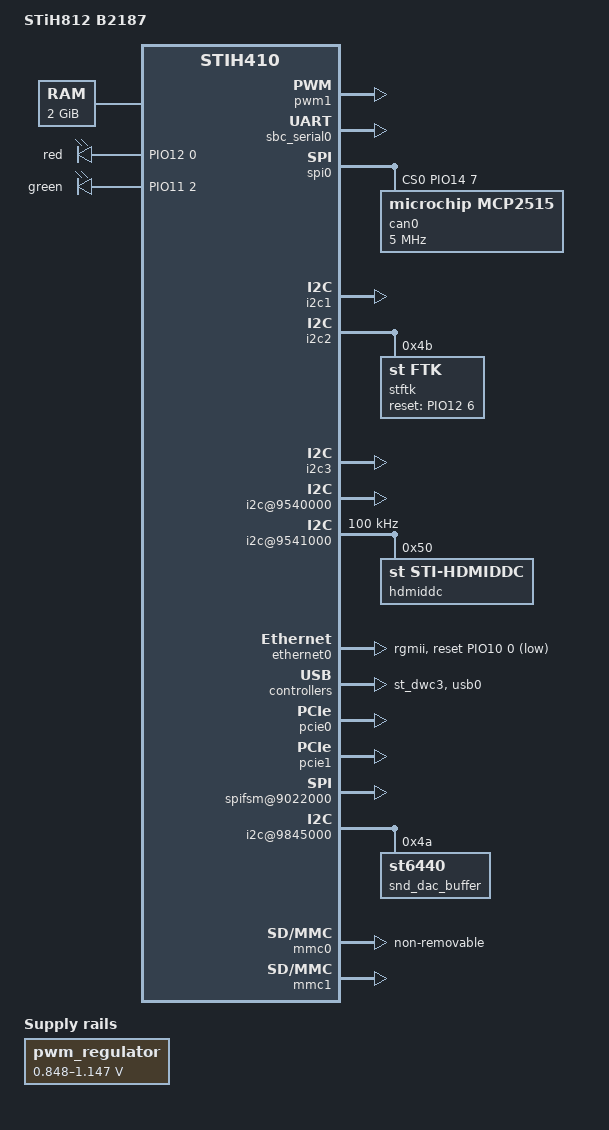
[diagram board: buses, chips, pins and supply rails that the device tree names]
/*
 * Copyright (C) 2014 STMicroelectronics (R&D) Limited.
 * Author: Vincent Abriou <vincent.abriou@st.com>
 * Author: Amelie Delaunay <amelie.delaunay@st.com>
 *
 * This program is free software; you can redistribute it and/or modify
 * it under the terms of the GNU General Public License version 2 as
 * published by the Free Software Foundation.
 */
/dts-v1/;
#include "stih410.dtsi"
/ {
	model = "STiH812 B2187";
	compatible = "st,stih812-b2187", "st,stih410";

	memory {
		device_type = "memory";
		reg = <0x40000000 0x80000000>;
	};

	chosen {
		bootargs = "console=ttyAS0,115200";
		linux,stdout-path = &sbc_serial0;
	};

	aliases {
		ttyAS0 = &sbc_serial0;
		ethernet0 = &ethernet0;
		usb0 = &usb0;
	};

	pwm_regulator: pwm-regulator {
		compatible = "st,pwm-regulator";
		regulator-name = "CPU_1V0_AVS";
		regulator-min-microvolt = <848000>;
		regulator-max-microvolt = <1147000>;
		regulator-always-on;
		pwms = <&pwm1 3 8448>;
		status = "okay";
	};

	sound {
		compatible = "st,snd-soc-sti";
		status = "okay";
		st,card-name = "sti audio card";

		st,asoc-platform = <&sti_asoc_platform>;
		st,backend-name  = "HDMI_out", "PCM_out",
				   "Analog_out", "spdif",
				   "HDMI_in";
		st,backend-cpu-dai = <&snd_uni_player0 &snd_uni_player1
				      &snd_uni_player2 &snd_uni_player3
				      &snd_uni_reader1 >;
		st,backend-codec = <&sti_sasg_codec &sti_sasg_codec
				    &sti_sasg_codec &sti_sasg_codec
				    &sti_sasg_codec>;
		st,backend-codec-dai = "sas-dai-dummy", "sas-dai-dummy",
				       "sas-dai-dac", "sas-dai-spdif-out",
				       "sas-dai-dummy";
	};

	soc {
		vqmmc_reg: voltage-regulator {
			status = "okay";
		};

		pwm1: pwm@9510000 {
			compatible = "st,sti-pwm";
			status = "okay";
			pinctrl-0 = <&pinctrl_pwm1_chan3_default>;
		};

		sbc_serial0: serial@9530000 {
			status = "okay";
		};

		leds {
			compatible = "gpio-leds";
			red {
				#gpio-cells = <2>;
				gpios = <&PIO12 0 0>;
				linux,default-trigger = "heartbeat";
			};
			green {
				#gpio-cells = <2>;
				gpios = <&PIO11 2 0>;
				default-state = "off";
			};
		};

		rc: rc@09518000 {
			status = "disabled";
		};

                /* Fixed 16MHz clock for MCP251x CAN controller */
                mcp251x_clock: mcp2515 {
                        compatible = "fixed-clock";
                        #clock-cells = <0>;
                        clock-frequency = <16000000>;
                };

		/* SSC0 to CAN controller */
		spi0: spi@9840000 {
			status = "okay";
                        cs-gpios = <&PIO14 7 0>;
                        #address-cells = <1>;
                        #size-cells = <0>;

                        /*CAN over SPI with MCP251x from Microchip */
                        can0: can@0 {
                                status = "okay";
                                compatible = "microchip,mcp2515";
                                reg = <0>;
                                spi-max-frequency = <5000000>;
                                clocks = <&mcp251x_clock>;
                                interrupt-parent = <&intc>;
                                interrupts = <&PIO14 1 0>;
                        };
		};

		/* SSC1 to Touch screen connector, Audio DAC AK4359 */
		i2c1: i2c@9841000 {
			status = "okay";
		};

		/* SSC2 to MiniPCIe connector, Monitor Controller STDP6028 */
		i2c2: i2c@9842000 {
			status = "okay";
			stftk:st-ftk@4b {
				compatible = "st,ftk";
				reg = <0x4b>;
				status = "okay";
				touchscreen-size-x = <1280>;
				touchscreen-size-y = <800>;
				touchscreen-fuzz-pressure = <0>;
				touchscreen-max-pressure = <256>;
				touchscreen-inverted-x;
				touchscreen-inverted-y;
				gpio-reset = <&PIO12 6 0>;
				st,gpio-int = <&PIO17 5 0>;
				st,fw-file = "st-ftkt.bin";
			};
		};

		/* SSC3 to MLB connector, Touch screen connector, Video Decoder ML86V7668A */
		i2c3: i2c@9843000 {
			status = "okay";
			pinctrl-0 = <&pinctrl_i2c3_alt3_0>;
		};

		/*
		 * SSC4 to PCIe connector
		 * Disabled as there are PIOs conflicts with DVO
		 */
		i2c4: i2c@9844000 {
			status = "disabled";
		};

		/* SSC10 to Generic Connector */
		i2c@9540000 {
			status = "okay";
		};

		/* SSC11 to HDMI */
		i2c@9541000 {
			status = "okay";
			/* HDMI V1.3a supports Standard mode only */
			clock-frequency = <100000>;
			st,i2c-min-scl-pulse-width-us = <0>;
			st,i2c-min-sda-pulse-width-us = <1>;

			hdmiddc@50 {
				compatible = "st,sti-hdmiddc";
				reg = <0x50>;
			};
		};

		ethernet0: dwmac@9630000 {
			st,tx-retime-src = "clkgen";
			status = "okay";
			phy-mode = "rgmii";
			pinctrl-0 = <&pinctrl_rgmii1 &pinctrl_rgmii1_mdio>;

			snps,phy-bus-name = "stmmac";
			snps,phy-bus-id = <0>;
			snps,phy-addr = <0>;
			snps,reset-gpio = <&PIO10 0 0>;
			snps,reset-active-low;
			snps,reset-delays-us = <0 10000 1000000>;
		};

		st_dwc3: dwc3@8f94000 {
			status = "okay";
		};

		pcie0: pcie@9b00000 {
			status = "okay";
		};

		miphy28lp_phy1: miphy28lp@1 {
			status = "okay";
		};

		pcie1: pcie@9b10000 {
			status = "okay";
		};

		spifsm@9022000 {
			status = "okay";
			flash-name = "n25q256";
			partitions = <&b2187_fsm_partitions>;

			b2187_fsm_partitions: partitions-b2187 {
				#address-cells = <1>;
				#size-cells = <1>;
				partition@0 {
					label = "boot";
					/* 20M */
					reg = <0x00000000 0x01400000>;
				};
				partition@1400000 {
					label = "rest";
					/* 12M */
					reg = <0x01400000 0x00c00000>;
				};
			};
		};

		/* Uniperipheral */
		snd_uni_player0: snd-uni-player@0 {
			status = "okay";
		};

		snd_uni_player1: snd-uni-player@1 {
			status = "okay";
		};

		snd_uni_player2: snd-uni-player@2 {
			status = "okay";
		};

		snd_uni_player3: snd-uni-player@3 {
			status = "okay";
		};

		/* Disabled as there are PIOs conflicts with DVO */
		snd_uni_reader0: snd-uni-reader@0 {
			status = "disabled";
		};

		snd_uni_reader1: snd-uni-reader@1 {
			status = "okay";
		};

		/* SSC5 to audio dac buffer */
		i2c@9845000 {
			status = "okay";
			#address-cells = <1>;
			#size-cells = <0>;

			snd_dac_buffer@4a {
				compatible = "st6440";
				reg = <0x4a>;
				st,source-bus-id = <&snd_uni_player2>;
				st,buffer-gain = <2>;
			};
		};

		mmc0: sdhci@09060000 {
			status = "okay";
			non-removable;
			max-frequency = <200000000>;
			mmc-cap-uhs-sdr50;
			mmc-cap-uhs-sdr104;
			mmc-cap-uhs-ddr50;
			mmc-cap-1p8;
		};

		mmc1: sdhci@09080000 {
			status = "okay";
		};

		usb0: usb@9A00000 {
			status = "okay";
		};

		lpm:stm-lpm@9400000 {
			status = "okay";
			gpios = <&PIO4 0 0>;
			st,lmi-ret-gpio = <&PIO5 2 0>;
		};
	};
};
